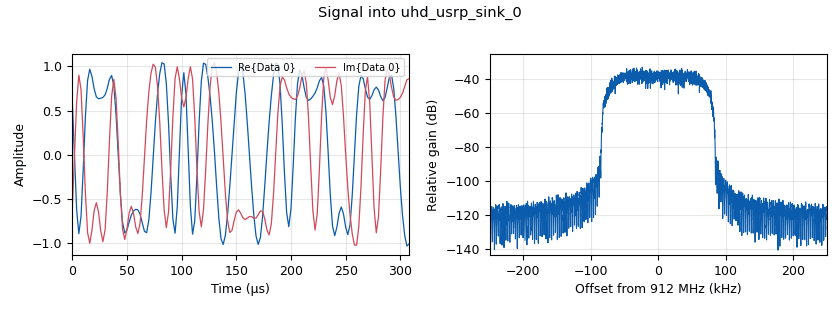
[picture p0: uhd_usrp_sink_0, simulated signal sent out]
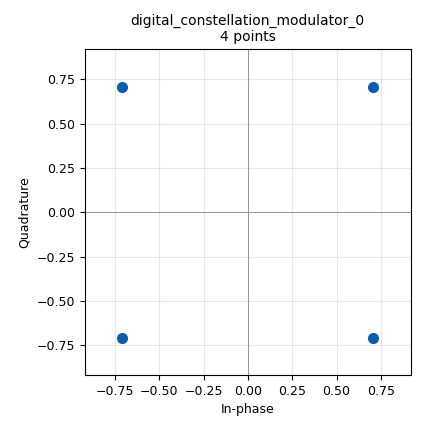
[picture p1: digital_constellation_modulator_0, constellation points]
options:
  parameters:
    generate_options: qt_gui
    id: qpsktest1
    output_language: python
    title: QPSK1
  states: {}

blocks:
- name: RFBW
  id: variable
  parameters:
    value: '4000000'
  states: {}
- name: a0
  id: variable_adaptive_algorithm
  parameters:
    cons: cons0
    modulus: '4'
    step_size: '.0001'
    type: cma
  states: {}
- name: cons0
  id: variable_constellation
  parameters:
    const_points: '[-1-1j, -1+1j, 1+1j, 1-1j]'
    dims: '1'
    normalization: digital.constellation.AMPLITUDE_NORMALIZATION
    precision: '8'
    rot_sym: '4'
    sym_map: '[0, 1, 3, 2]'
    type: calcdist
  states: {}
- name: freq
  id: variable
  parameters:
    value: '912000000'
  states: {}
- name: gain
  id: variable_qtgui_range
  parameters:
    label: rf gain
    start: '0'
    step: '1'
    stop: '70'
    value: '50'
  states: {}
- name: rrc_taps
  id: variable
  parameters:
    value: firdes.root_raised_cosine(1.0,samp_rate,samp_rate/4,0.35,44)
  states: {}
- name: samp_rate
  id: variable
  parameters:
    value: '500000'
  states: {}
- name: tx_pwr
  id: variable_qtgui_range
  parameters:
    label: tx power
    start: '0'
    step: '0.01'
    stop: '1'
    value: '.5'
  states: {}
- name: analog_random_source_x_0
  id: analog_random_source_x
  parameters:
    max: '255'
    min: '0'
    num_samps: '10000'
    repeat: 'True'
    type: byte
  states: {}
- name: digital_constellation_modulator_0
  id: digital_constellation_modulator
  parameters:
    constellation: cons0
    differential: 'True'
    excess_bw: '0.35'
    samples_per_symbol: '4'
  states: {}
- name: digital_costas_loop_cc_0
  id: digital_costas_loop_cc
  parameters:
    order: '4'
    use_snr: 'True'
    w: '.0628'
  states: {}
- name: digital_linear_equalizer_0
  id: digital_linear_equalizer
  parameters:
    alg: a0
    num_taps: '15'
    sps: '4'
  states: {}
- name: qtgui_const_sink_x_1
  id: qtgui_const_sink_x
  parameters:
    size: '4096'
    type: complex
  states: {}
- name: uhd_usrp_sink_0
  id: uhd_usrp_sink
  parameters:
    ant0: '"TX/RX"'
    bw0: RFBW
    center_freq0: freq
    dev_addr: '"addr=192.168.10.2"'
    gain0: tx_pwr
    gain_type0: normalized
    samp_rate: samp_rate
    sync: none
    type: fc32
  states: {}
- name: uhd_usrp_source_0
  id: uhd_usrp_source
  parameters:
    ant0: '"RX2"'
    bw0: RFBW
    center_freq0: freq
    dc_offs_enb0: '""'
    dev_addr: '"addr=192.168.10.2"'
    gain0: gain
    iq_imbal_enb0: '""'
    samp_rate: samp_rate
    stream_chans: '[1]'
    sync: none
    type: fc32
  states: {}

connections:
- [analog_random_source_x_0, '0', digital_constellation_modulator_0, '0']
- [digital_constellation_modulator_0, '0', uhd_usrp_sink_0, '0']
- [digital_costas_loop_cc_0, '0', digital_linear_equalizer_0, '0']
- [digital_linear_equalizer_0, '0', qtgui_const_sink_x_1, '0']
- [uhd_usrp_source_0, '0', digital_costas_loop_cc_0, '0']

metadata:
  file_format: 1
